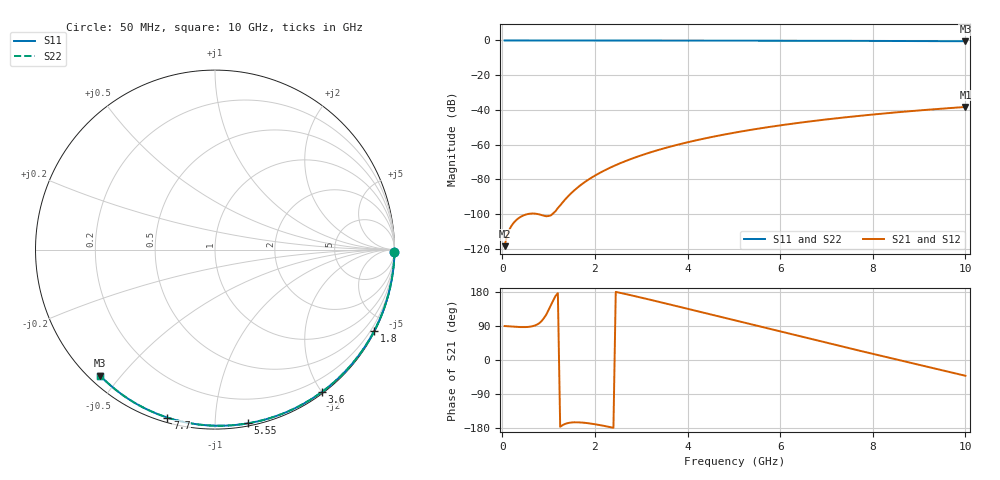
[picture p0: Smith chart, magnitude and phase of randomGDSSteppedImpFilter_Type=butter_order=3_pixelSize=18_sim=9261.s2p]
! freq	dB(S11)	phase(S11)	dB(S12)	phase(S12)
!  dB(S21)	phase(S21)	dB(S22)	phase(S22)
!S-par simulation data
#  GHz  S  DB  R 50
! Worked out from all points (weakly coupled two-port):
!   200 points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, 50 MHz to 10 GHz, reference 50 ohm
!   highest |S21| = -38.36 dB at 10 GHz (marker M1); lowest = -118.6 dB at 50 MHz (marker M2)
!   lowest |S11| = -0.4 dB at 10 GHz (marker M3), VSWR 38.85, Z = 1.54 - j22.1 ohm
!   |S11| at or under -10 dB: nowhere
!   |S22| runs from -0.4 to 0.0 dB; largest |S21 - S12| = 0
!   S11 on the Smith chart (normalised r, x): 50 MHz: open; 1.8 GHz: 0.04, -4.14; 3.6 GHz: 0.02, -2.00; 5.55 GHz: 0.02, -1.21; 7.7 GHz: 0.02, -0.76; 10 GHz: 0.03, -0.44
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0.05  -0.00 -0.8  -118.61 89.6  -118.61 89.6  -0.00 -0.8
0.9  -0.02 -13.7  -101.08 110.8  -101.08 110.8  -0.02 -13.7
1.75  -0.03 -26.4  -82.26 -165.4  -82.26 -165.4  -0.03 -26.4
1.8  -0.03 -27.1  -81.31 -166.0  -81.31 -166.0  -0.03 -27.1
1.85  -0.04 -27.9  -80.42 -166.8  -80.42 -166.8  -0.04 -27.9
1.9  -0.04 -28.6  -79.56 -167.6  -79.56 -167.6  -0.04 -28.6
2.05  -0.04 -30.8  -77.17 -170.6  -77.17 -170.6  -0.04 -30.8
2.25  -0.04 -33.8  -74.36 -175.1  -74.36 -175.1  -0.04 -33.8
2.45  -0.05 -36.7  -71.88 179.8  -71.88 179.8  -0.05 -36.7
2.65  -0.05 -39.6  -69.66 174.4  -69.66 174.4  -0.05 -39.6
3  -0.06 -44.6  -66.24 164.6  -66.24 164.6  -0.06 -44.6
3.4  -0.07 -50.3  -62.91 153.0  -62.91 153.0  -0.07 -50.3
3.6  -0.07 -53.1  -61.42 147.1  -61.42 147.1  -0.07 -53.1
4.3  -0.09 -62.7  -56.91 126.2  -56.91 126.2  -0.09 -62.7
5.05  -0.11 -72.7  -52.98 103.6  -52.98 103.6  -0.11 -72.7
5.55  -0.13 -79.2  -50.76 88.6  -50.76 88.6  -0.13 -79.2
6.1  -0.15 -86.2  -48.58 72.2  -48.58 72.2  -0.15 -86.3
6.7  -0.18 -93.7  -46.49 54.4  -46.49 54.4  -0.18 -93.7
7.7  -0.24 -105.8  -43.51 25.0  -43.51 25.0  -0.24 -105.8
8.35  -0.29 -113.4  -41.84 6.1  -41.84 6.1  -0.29 -113.4
9.15  -0.36 -122.7  -40.03 -17.0  -40.03 -17.0  -0.36 -122.7
10  -0.45 -132.4  -38.36 -41.6  -38.36 -41.6  -0.45 -132.4
